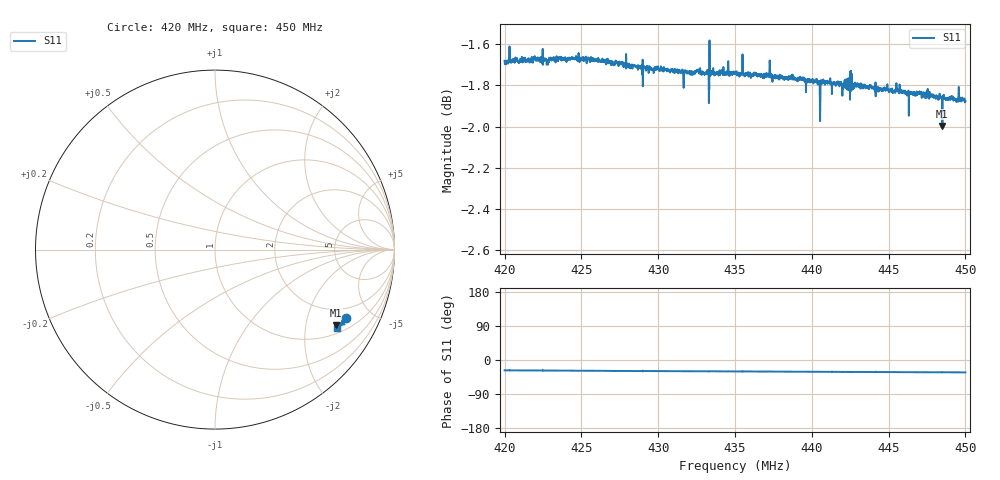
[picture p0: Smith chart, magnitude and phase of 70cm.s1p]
! Calibrated averaged scanner-service zoom
# Hz S RI R 50
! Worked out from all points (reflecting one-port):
!   3001 points, 420 MHz to 450 MHz, reference 50 ohm
!   lowest |S11| = -2.0 dB at 448.5 MHz (marker M1), VSWR 8.74, Z = 64.7 - j148 ohm
!   phase of S11 starts at -27 deg and turns -5 deg over the sweep
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4.2e8  0.7321 -0.3784
4.2238e8  0.7312 -0.3839
4.2375e8  0.7282 -0.3879
4.247e8  0.7263 -0.39
4.275e8  0.7212 -0.3974
4.3125e8  0.7135 -0.4034
4.3173e8  0.7125 -0.4035
4.326e8  0.7123 -0.4066
4.3312e8  0.71 -0.4062
4.3318e8  0.7102 -0.4072
4.3342e8  0.7091 -0.4073
4.3349e8  0.7103 -0.4083
4.35e8  0.7083 -0.4101
4.3875e8  0.7013 -0.4192
4.4036e8  0.697 -0.4209
4.4051e8  0.6974 -0.4216
4.4074e8  0.6976 -0.4217
4.4234e8  0.6922 -0.4244
4.425e8  0.6981 -0.4286
4.428e8  0.6921 -0.4251
4.4391e8  0.6906 -0.4272
4.4403e8  0.6897 -0.4276
4.448e8  0.6881 -0.4281
4.4625e8  0.6863 -0.43
4.4715e8  0.6826 -0.4315
4.485e8  0.6734 -0.422
4.4947e8  0.6791 -0.4352
4.5e8  0.6783 -0.435
